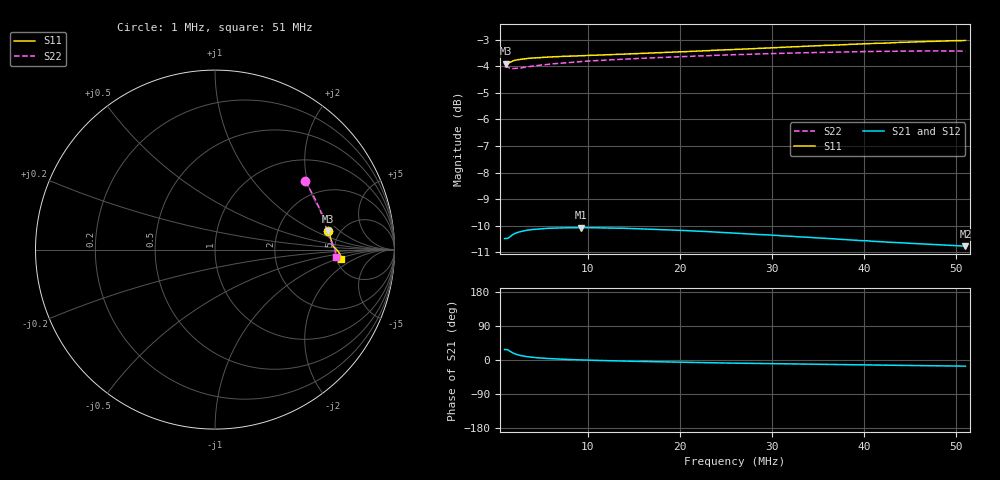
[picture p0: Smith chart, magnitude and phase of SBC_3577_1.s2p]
# MHz S RI R 50
! S-Parameters data
! Freq  reS11  imS11  reS21  imS21  reS12  imS12  reS22  imS22
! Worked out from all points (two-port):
!   401 points, 1 MHz to 51 MHz, reference 50 ohm
!   highest |S21| = -10.06 dB at 9.25 MHz (marker M1); lowest = -10.8 dB at 51 MHz (marker M2)
!   |S21| within 3 dB of the highest: start of sweep to end of sweep
!   lowest |S11| = -3.9 dB at 1.125 MHz (marker M3), VSWR 4.53, Z = 201 + j69.3 ohm
!   |S11| at or under -10 dB: nowhere
!   |S22| runs from -4.1 to -3.4 dB; largest |S21 - S12| = 0.0018
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1  0.6299 0.1022  0.2652 0.1389  0.2648 0.1388  0.5026 0.3795
1.125  0.6299 0.1022  0.2652 0.1389  0.2649 0.1387  0.5028 0.3795
1.25  0.6303 0.1013  0.266 0.1377  0.2656 0.1376  0.5048 0.3765
1.375  0.6317 0.0979  0.2688 0.1331  0.2685 0.133  0.5121 0.3645
1.5  0.634 0.092  0.2737 0.125  0.2733 0.1249  0.5245 0.3433
1.875  0.6413 0.0728  0.2882 0.0982  0.2877 0.0981  0.5615 0.2737
2  0.643 0.0679  0.2914 0.0912  0.2909 0.0912  0.5699 0.256
2.375  0.6463 0.0569  0.298 0.0749  0.2976 0.0749  0.5875 0.2151
2.625  0.6477 0.0514  0.3009 0.0666  0.3004 0.0667  0.5951 0.1946
2.875  0.6492 0.0471  0.3031 0.0597  0.3026 0.0598  0.6013 0.1781
3.5  0.6517 0.0391  0.3069 0.0467  0.3064 0.0468  0.612 0.1476
4.375  0.6537 0.0319  0.3099 0.0342  0.3093 0.0344  0.621 0.12
5.625  0.656 0.0257  0.3121 0.0221  0.3113 0.0223  0.6287 0.0958
7.25  0.658 0.0207  0.3133 0.0112  0.3129 0.0115  0.6355 0.0767
9.25  0.6601 0.0168  0.3139 0.00133  0.3133 0.00167  0.6408 0.0619
9.375  0.6603 0.0167  0.3139 0.000823  0.3133 0.00116  0.6412 0.0612
12.625  0.6636 0.0127  0.3131 -0.0113  0.3124 -0.0109  0.6473 0.0465
17.75  0.6691 0.0076  0.3102 -0.0261  0.3095 -0.0256  0.6544 0.0316
26  0.6786 -0.00114  0.3033 -0.0444  0.3025 -0.0436  0.6632 0.0141
34.375  0.6888 -0.0137  0.2949 -0.0589  0.2938 -0.0578  0.6696 -0.00272
42.75  0.6976 -0.0308  0.2861 -0.0705  0.2852 -0.0693  0.6727 -0.0208
51  0.7036 -0.0526  0.2781 -0.081  0.2771 -0.0797  0.6726 -0.0405
